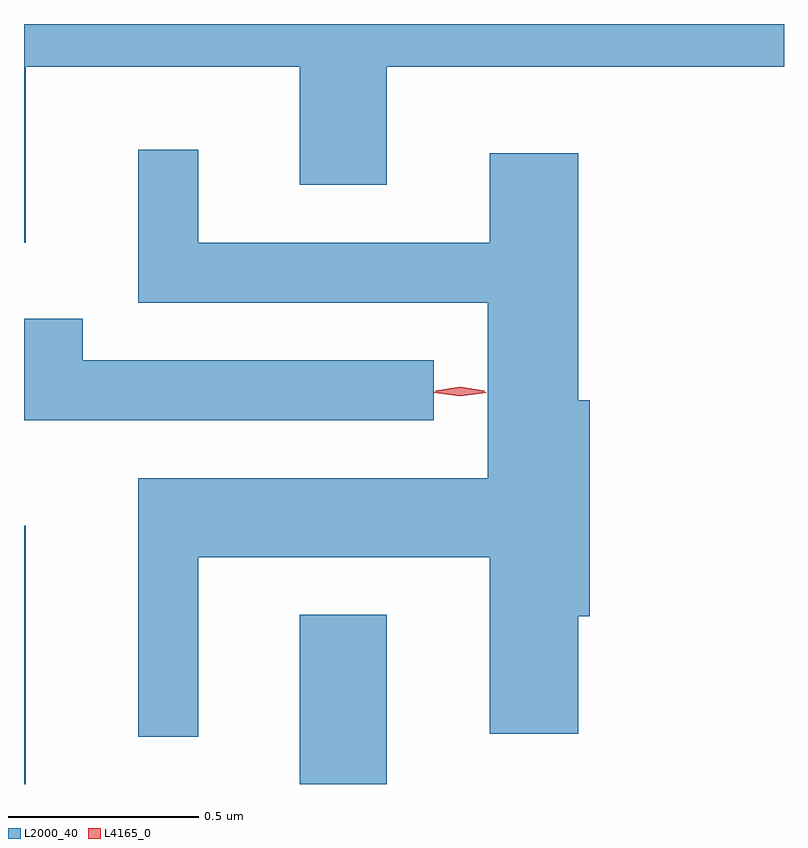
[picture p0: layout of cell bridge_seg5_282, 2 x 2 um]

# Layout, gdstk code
import gdstk
lib = gdstk.Library(unit=1e-6, precision=1e-09)
def R(c, l, rs):  # rectangles x0, y0, x1, y1
    for r in rs: c.add(gdstk.rectangle(r[:2], r[2:], *l))
def P(c, l, *ps):  # polygons
    for p in ps: c.add(gdstk.Polygon(p, *l))
L2000_40 = (2000, 40)
L4165_0 = (4165, 0)

bridge_seg5_282 = lib.new_cell('bridge_seg5_282')
R(bridge_seg5_282, L2000_40, [(1006.205,1479.329,1006.209,1480.008), (1006.931,1479.329,1007.159,1479.774)])
P(bridge_seg5_282, L2000_40, [(1006.209,1481.216),(1006.931,1481.216),(1006.931,1480.906),(1007.159,1480.906),(1007.159,1481.216),(1008.205,1481.216),(1008.205,1481.329),(1006.205,1481.329),(1006.205,1480.753),(1006.209,1480.753)],
  [(1006.664,1479.926),(1007.431,1479.926),(1007.431,1479.461),(1007.664,1479.461),(1007.664,1479.771),(1007.694,1479.771),(1007.694,1480.339),(1007.664,1480.339),(1007.664,1480.989),(1007.431,1480.989),(1007.431,1480.754),(1006.664,1480.754),(1006.664,1480.998),(1006.506,1480.998),(1006.506,1480.596),(1007.426,1480.596),(1007.426,1480.134),(1006.506,1480.134),(1006.506,1479.453),(1006.664,1479.453)],
  [(1007.283,1480.444),(1006.359,1480.444),(1006.359,1480.554),(1006.205,1480.554),(1006.205,1480.286),(1007.283,1480.286)])
P(bridge_seg5_282, L4165_0, [(1007.353,1480.35),(1007.284,1480.359),(1007.283,1480.36),(1007.284,1480.36),(1007.353,1480.369),(1007.422,1480.36),(1007.422,1480.359),(1007.422,1480.359)],
  [(1007.353,1480.354),(1007.287,1480.363),(1007.287,1480.364),(1007.287,1480.364),(1007.353,1480.374),(1007.418,1480.364),(1007.418,1480.364),(1007.418,1480.363)])

lib.write_gds('bridge_seg5_282.gds')
